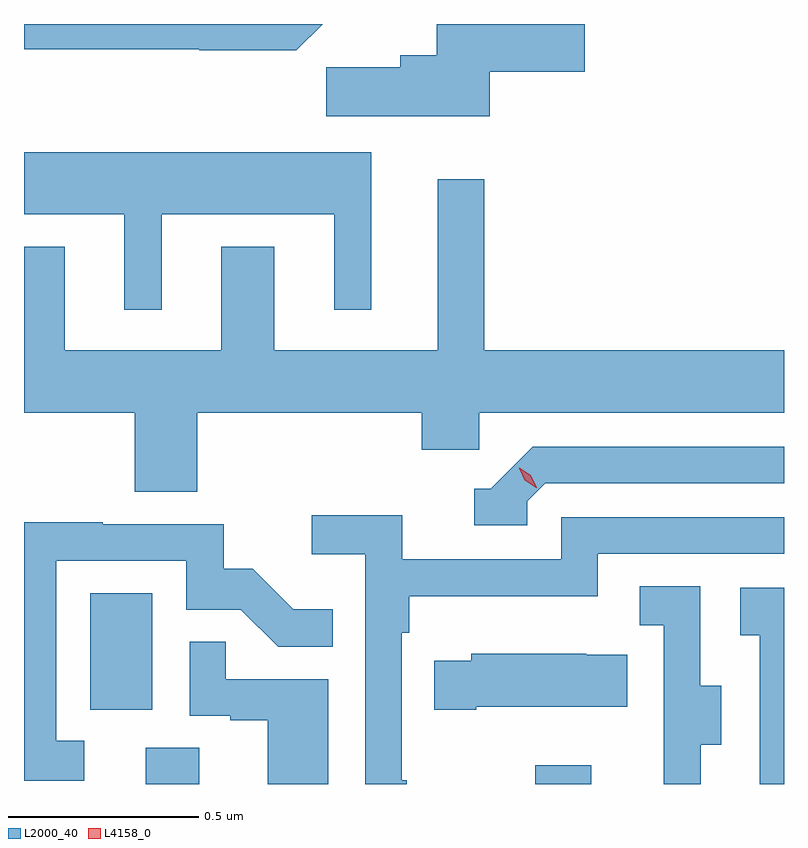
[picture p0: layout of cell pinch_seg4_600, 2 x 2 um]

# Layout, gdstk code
import gdstk
lib = gdstk.Library(unit=1e-6, precision=1e-09)
def R(c, l, rs):  # rectangles x0, y0, x1, y1
    for r in rs: c.add(gdstk.rectangle(r[:2], r[2:], *l))
def P(c, l, *ps):  # polygons
    for p in ps: c.add(gdstk.Polygon(p, *l))
L2000_40 = (2000, 40)
L4158_0 = (4158, 0)

pinch_seg4_600 = lib.new_cell('pinch_seg4_600')
R(pinch_seg4_600, L2000_40, [(1046.141,771.867,1046.281,771.962), (1047.166,771.867,1047.313,771.916), (1045.994,772.062,1046.158,772.369)])
P(pinch_seg4_600, L2000_40, [(1047.046,773.741),(1047.295,773.741),(1047.295,773.867),(1046.906,773.867),(1046.906,773.785),(1046.81,773.785),(1046.81,773.753),(1046.616,773.753),(1046.616,773.624),(1047.046,773.624)],
  [(1046.606,773.867),(1045.82,773.867),(1045.82,773.8),(1046.281,773.8),(1046.281,773.798),(1046.537,773.798)],
  [(1046.182,773.366),(1046.636,773.366),(1046.636,773.115),(1046.734,773.115),(1046.734,773.53),(1045.82,773.53),(1045.82,773.366),(1046.084,773.366),(1046.084,773.115),(1046.182,773.115)],
  [(1046.276,772.844),(1046.867,772.844),(1046.867,772.746),(1047.018,772.746),(1047.018,772.844),(1047.82,772.844),(1047.82,773.008),(1047.031,773.008),(1047.031,773.458),(1046.909,773.458),(1046.909,773.008),(1046.479,773.008),(1046.479,773.281),(1046.339,773.281),(1046.339,773.008),(1045.927,773.008),(1045.927,773.281),(1045.82,773.281),(1045.82,772.844),(1046.111,772.844),(1046.111,772.636),(1046.276,772.636)],
  [(1047.144,772.611),(1047.192,772.659),(1047.82,772.659),(1047.82,772.755),(1047.159,772.755),(1047.048,772.644),(1047.005,772.644),(1047.005,772.548),(1047.144,772.548)],
  [(1046.827,771.877),(1046.814,771.877),(1046.814,772.265),(1046.834,772.265),(1046.834,772.361),(1047.33,772.361),(1047.33,772.473),(1047.82,772.473),(1047.82,772.569),(1047.234,772.569),(1047.234,772.458),(1046.816,772.458),(1046.816,772.574),(1046.577,772.574),(1046.577,772.472),(1046.718,772.472),(1046.718,771.867),(1046.827,771.867)],
  [(1045.978,771.981),(1045.905,771.981),(1045.905,772.455),(1046.247,772.455),(1046.247,772.326),(1046.391,772.326),(1046.489,772.228),(1046.633,772.228),(1046.633,772.327),(1046.529,772.327),(1046.422,772.434),(1046.346,772.434),(1046.346,772.551),(1046.027,772.551),(1046.027,772.556),(1045.82,772.556),(1045.82,771.876),(1045.978,771.876)],
  [(1047.601,771.97),(1047.655,771.97),(1047.655,772.125),(1047.6,772.125),(1047.6,772.388),(1047.441,772.388),(1047.441,772.285),(1047.504,772.285),(1047.504,771.981),(1047.503,771.981),(1047.503,771.867),(1047.601,771.867)],
  [(1047.82,772.383),(1047.705,772.383),(1047.705,772.259),(1047.756,772.259),(1047.756,771.867),(1047.82,771.867)],
  [(1046.62,772.143),(1046.351,772.143),(1046.351,772.241),(1046.256,772.241),(1046.256,772.047),(1046.363,772.047),(1046.363,772.035),(1046.462,772.035),(1046.462,771.867),(1046.62,771.867)],
  [(1047.01,772.07),(1047.407,772.07),(1047.407,772.207),(1047.299,772.207),(1047.299,772.21),(1046.997,772.21),(1046.997,772.192),(1046.899,772.192),(1046.899,772.063),(1047.01,772.063)])
P(pinch_seg4_600, L4158_0, [(1047.168,772.646),(1047.138,772.666),(1047.123,772.698),(1047.123,772.699),(1047.123,772.699),(1047.154,772.679),(1047.169,772.646),(1047.169,772.646)])

lib.write_gds('pinch_seg4_600.gds')
